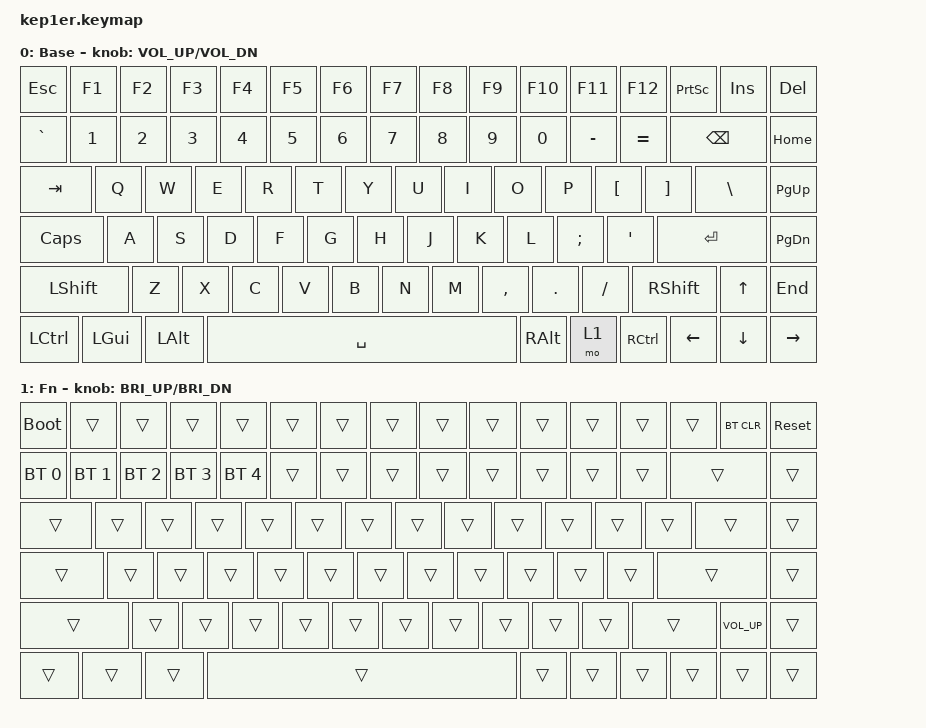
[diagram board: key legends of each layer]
/*
 * Kep1er (kk) keymap
 */

#include <behaviors.dtsi>
#include <dt-bindings/zmk/keys.h>
#include <dt-bindings/zmk/bt.h>
#include <dt-bindings/zmk/outputs.h>

/ {
    keymap {
        compatible = "zmk,keymap";

        default_layer {
            display-name = "Base";
            bindings = <
                &kp ESC  &kp F1  &kp F2  &kp F3  &kp F4  &kp F5  &kp F6  &kp F7  &kp F8  &kp F9  &kp F10  &kp F11  &kp F12  &kp PSCRN  &kp INS  &kp DEL
                &kp GRAVE  &kp N1  &kp N2  &kp N3  &kp N4  &kp N5  &kp N6  &kp N7  &kp N8  &kp N9  &kp N0  &kp MINUS  &kp EQUAL  &kp BSPC  &kp HOME
                &kp TAB  &kp Q  &kp W  &kp E  &kp R  &kp T  &kp Y  &kp U  &kp I  &kp O  &kp P  &kp LBKT  &kp RBKT  &kp BSLH  &kp PG_UP
                &kp CAPS  &kp A  &kp S  &kp D  &kp F  &kp G  &kp H  &kp J  &kp K  &kp L  &kp SEMI  &kp SQT  &kp RET  &kp PG_DN
                &kp LSHFT  &kp Z  &kp X  &kp C  &kp V  &kp B  &kp N  &kp M  &kp COMMA  &kp DOT  &kp FSLH  &kp RSHFT  &kp UP  &kp END
                &kp LCTRL  &kp LGUI  &kp LALT  &kp SPACE  &kp RALT  &mo 1  &kp RCTRL  &kp LEFT  &kp DOWN  &kp RIGHT
            >;

            sensor-bindings = <&inc_dec_kp C_VOL_UP C_VOL_DN>;
        };

        fn_layer {
            display-name = "Fn";
            bindings = <
                &bootloader  &trans  &trans  &trans  &trans  &trans  &trans  &trans  &trans  &trans  &trans  &trans  &trans  &trans  &bt BT_CLR  &sys_reset
                &bt BT_SEL 0  &bt BT_SEL 1  &bt BT_SEL 2  &bt BT_SEL 3  &bt BT_SEL 4  &trans  &trans  &trans  &trans  &trans  &trans  &trans  &trans  &trans  &trans
                &trans  &trans  &trans  &trans  &trans  &trans  &trans  &trans  &trans  &trans  &trans  &trans  &trans  &trans  &trans
                &trans  &trans  &trans  &trans  &trans  &trans  &trans  &trans  &trans  &trans  &trans  &trans  &trans  &trans
                &trans  &trans  &trans  &trans  &trans  &trans  &trans  &trans  &trans  &trans  &trans  &trans  &kp C_VOL_UP  &trans
                &trans  &trans  &trans  &trans  &trans  &trans  &trans  &trans  &trans  &trans
            >;

            sensor-bindings = <&inc_dec_kp C_BRI_UP C_BRI_DN>;
        };
    };
};
